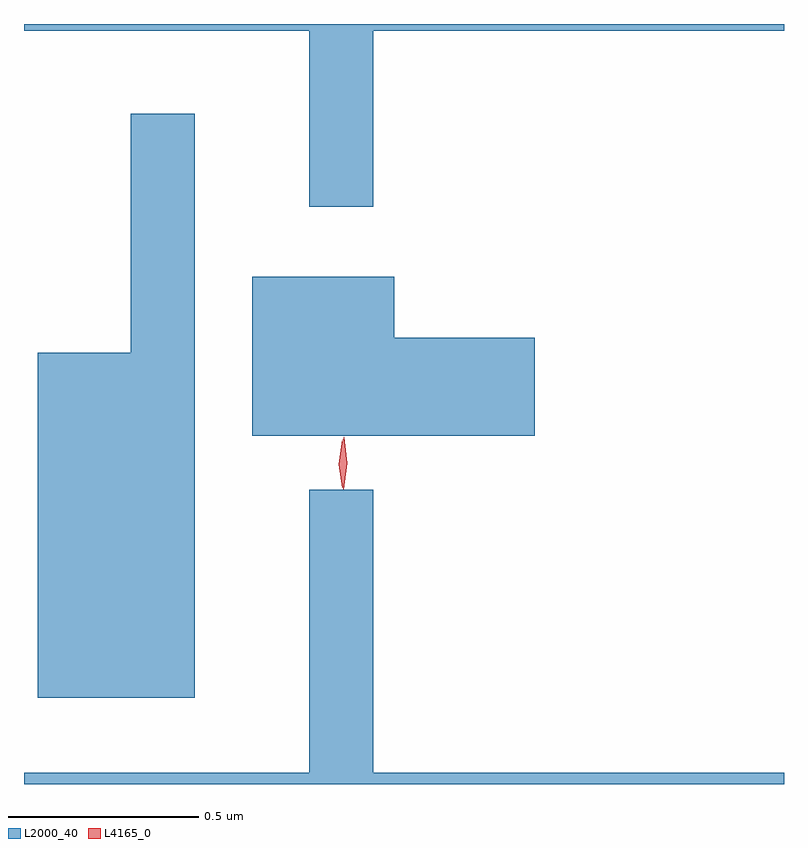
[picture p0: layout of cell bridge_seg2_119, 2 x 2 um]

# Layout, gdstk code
import gdstk
lib = gdstk.Library(unit=1e-6, precision=1e-09)
def P(c, l, *ps):  # polygons
    for p in ps: c.add(gdstk.Polygon(p, *l))
L2000_40 = (2000, 40)
L4165_0 = (4165, 0)

bridge_seg2_119 = lib.new_cell('bridge_seg2_119')
P(bridge_seg2_119, L2000_40, [(922.509,1050.536),(923.59,1050.536),(923.59,1050.554),(921.59,1050.554),(921.59,1050.536),(922.341,1050.536),(922.341,1050.073),(922.509,1050.073)],
  [(922.039,1050.318),(921.871,1050.318),(921.871,1049.689),(921.626,1049.689),(921.626,1048.781),(922.039,1048.781)],
  [(922.934,1049.729),(922.564,1049.729),(922.564,1049.889),(922.191,1049.889),(922.191,1049.471),(922.934,1049.471)],
  [(922.509,1049.328),(922.341,1049.328),(922.341,1048.584),(921.59,1048.584),(921.59,1048.554),(923.59,1048.554),(923.59,1048.584),(922.509,1048.584)])
P(bridge_seg2_119, L4165_0, [(922.43,1049.33),(922.43,1049.33),(922.421,1049.398),(922.432,1049.466),(922.432,1049.466),(922.433,1049.466),(922.441,1049.398),(922.431,1049.33)],
  [(922.427,1049.333),(922.418,1049.396),(922.427,1049.46),(922.428,1049.46),(922.428,1049.46),(922.438,1049.396),(922.428,1049.333),(922.428,1049.333)])

lib.write_gds('bridge_seg2_119.gds')
